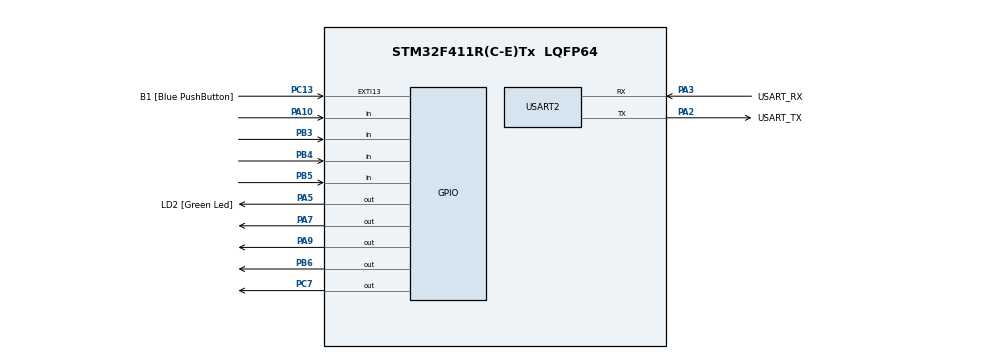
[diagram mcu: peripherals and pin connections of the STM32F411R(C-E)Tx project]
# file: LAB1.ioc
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Mcu.Family=STM32F4
Mcu.Name=STM32F411R(C-E)Tx
Mcu.Package=LQFP64
NVIC.PriorityGroup=NVIC_PRIORITYGROUP_0
PA10.Signal=GPIO_Input
PA13.GPIO_Label=TMS
PA13.Mode=Serial_Wire
PA13.Signal=SYS_JTMS-SWDIO
PA14.GPIO_Label=TCK
PA14.Mode=Serial_Wire
PA14.Signal=SYS_JTCK-SWCLK
PA2.GPIO_Label=USART_TX
PA2.Mode=Asynchronous
PA2.Signal=USART2_TX
PA3.GPIO_Label=USART_RX
PA3.Mode=Asynchronous
PA3.Signal=USART2_RX
PA5.GPIO_Label=LD2 [Green Led]
PA5.Signal=GPIO_Output
PA7.Signal=GPIO_Output
PA9.Signal=GPIO_Output
PB3.Signal=GPIO_Input
PB4.Signal=GPIO_Input
PB5.Signal=GPIO_Input
PB6.Signal=GPIO_Output
PC13-ANTI_TAMP.GPIO_Label=B1 [Blue PushButton]
PC13-ANTI_TAMP.GPIO_ModeDefaultEXTI=GPIO_MODE_IT_FALLING
PC13-ANTI_TAMP.Signal=GPXTI13
PC14-OSC32_IN.Mode=LSE-External-Oscillator
PC14-OSC32_IN.Signal=RCC_OSC32_IN
PC15-OSC32_OUT.Mode=LSE-External-Oscillator
PC15-OSC32_OUT.Signal=RCC_OSC32_OUT
PC7.Signal=GPIO_Output
PH0\ -\ OSC_IN.Mode=HSE-External-Clock-Source
PH0\ -\ OSC_IN.Signal=RCC_OSC_IN
PH1\ -\ OSC_OUT.Mode=HSE-External-Clock-Source
PH1\ -\ OSC_OUT.Signal=RCC_OSC_OUT
ProjectManager.HeapSize=0x200
ProjectManager.StackSize=0x400
ProjectManager.TargetToolchain=STM32CubeIDE
RCC.48MHZClocksFreq_Value=84000000
RCC.AHBFreq_Value=84000000
RCC.APB1CLKDivider=RCC_HCLK_DIV2
RCC.APB1Freq_Value=42000000
RCC.APB1TimFreq_Value=84000000
RCC.APB2Freq_Value=84000000
RCC.APB2TimFreq_Value=84000000
RCC.CortexFreq_Value=84000000
RCC.FLatency-AdvancedSettings=FLASH_LATENCY_2
RCC.HCLKFreq_Value=84000000
RCC.HSE_VALUE=8000000
RCC.HSI_VALUE=16000000
RCC.PLLN=336
RCC.PLLP=RCC_PLLP_DIV4
RCC.SYSCLKFreq_VALUE=84000000
RCC.SYSCLKSource=RCC_SYSCLKSOURCE_PLLCLK
RCC.VCOOutputFreq_Value=336000000
USART2.VirtualMode=VM_ASYNC
board=NUCLEO-F411RE

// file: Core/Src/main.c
/* USER CODE BEGIN Header */
/**
 ******************************************************************************
 * @file           : main.c
 * @brief          : Main program body
 ******************************************************************************
 * @attention
 *
 * <h2><center>&copy; Copyright (c) 2021 STMicroelectronics.
 * All rights reserved.</center></h2>
 *
 * This software component is licensed by ST under BSD 3-Clause license,
 * the "License"; You may not use this file except in compliance with the
 * License. You may obtain a copy of the License at:
 *                        opensource.org/licenses/BSD-3-Clause
 *
 ******************************************************************************
 */
/* USER CODE END Header */
#include "main.h"

UART_HandleTypeDef huart2;

void SystemClock_Config(void);
static void MX_GPIO_Init(void);
static void MX_USART2_UART_Init(void);

int main(void) {

	/* MCU Configuration--------------------------------------------------------*/

	/* Reset of all peripherals, Initializes the Flash interface and the Systick. */
	HAL_Init();

	/* Configure the system clock */
	SystemClock_Config();

	/* Initialize all configured peripherals */
	MX_GPIO_Init();
	MX_USART2_UART_Init();
	/* USER CODE BEGIN 2 */
	GPIO_PinState SwitchState[2]={0}; //NOW,LAST
	GPIO_PinState SwitchState1[2]={0}; //NOW,LAST
	GPIO_PinState SwitchState2[2]={0}; //NOW,LAST
	uint16_t LED1_HalfPeriod = 1000; //0.5Hz
	uint16_t LED3_HalfPeriod = 1500;
	uint32_t TimeStamp = 0;
	uint32_t TimeStamp1 = 0;
	uint32_t ButtonTimeStamp = 0;
	int Mode = 0;
	/* USER CODE END 2 */

	/* Infinite loop */
	while (1) {

		/* USER CODE BEGIN 3 */
		if (HAL_GetTick() - ButtonTimeStamp >= 100) {
			SwitchState[0] = HAL_GPIO_ReadPin(GPIOA, GPIO_PIN_10);
			SwitchState1[0] = HAL_GPIO_ReadPin(GPIOB, GPIO_PIN_3);
			SwitchState2[0] = HAL_GPIO_ReadPin(GPIOB, GPIO_PIN_5);
			if (SwitchState[1] == GPIO_PIN_SET
					&& SwitchState[0] == GPIO_PIN_RESET) {
				if (LED1_HalfPeriod == 1000) {
					LED1_HalfPeriod = 500;
				} else if (LED1_HalfPeriod == 500) {
					LED1_HalfPeriod = 250;
				} else if (LED1_HalfPeriod == 250) {
					LED1_HalfPeriod = 167;
				} else if (LED1_HalfPeriod == 167) {
					LED1_HalfPeriod = 1000;
				}
			}
			SwitchState[1] = SwitchState[0];
			if (SwitchState1[1] == GPIO_PIN_SET
					&& SwitchState1[0] == GPIO_PIN_RESET) {
				if (HAL_GPIO_ReadPin(GPIOC, GPIO_PIN_7) == GPIO_PIN_RESET) {
					HAL_GPIO_WritePin(GPIOC, GPIO_PIN_7, GPIO_PIN_SET);
				} else {
					HAL_GPIO_WritePin(GPIOC, GPIO_PIN_7, GPIO_PIN_RESET);
				}

			}
			SwitchState1[1] = SwitchState1[0];

			if (SwitchState2[1] == GPIO_PIN_SET
					&& SwitchState2[0] == GPIO_PIN_RESET) {
				if (Mode == 1) {
					Mode = 0;
				} else {
					Mode = 1;
				}

			}
			SwitchState2[1] = SwitchState2[0];
		}
		if (HAL_GetTick() - TimeStamp >= LED1_HalfPeriod) {
			TimeStamp = HAL_GetTick();
			if (HAL_GPIO_ReadPin(GPIOA, GPIO_PIN_9) == GPIO_PIN_SET) {
				HAL_GPIO_WritePin(GPIOA, GPIO_PIN_9, GPIO_PIN_RESET);
			} else {
				HAL_GPIO_WritePin(GPIOA, GPIO_PIN_9, GPIO_PIN_SET);
			}
		}
		if (HAL_GetTick() - TimeStamp1 >= LED3_HalfPeriod) {
			TimeStamp1 = HAL_GetTick();
			if (Mode == 1) {
				if (HAL_GPIO_ReadPin(GPIOB, GPIO_PIN_6) == GPIO_PIN_SET) {
					LED3_HalfPeriod = 500;
					HAL_GPIO_WritePin(GPIOB, GPIO_PIN_6, GPIO_PIN_RESET);
				} else {
					LED3_HalfPeriod = 1500;
					HAL_GPIO_WritePin(GPIOB, GPIO_PIN_6, GPIO_PIN_SET);
				}
			} else {
					if (HAL_GPIO_ReadPin(GPIOB, GPIO_PIN_6) == GPIO_PIN_SET) {
						LED3_HalfPeriod = 1500;
						HAL_GPIO_WritePin(GPIOB, GPIO_PIN_6, GPIO_PIN_RESET);
					} else {
						LED3_HalfPeriod = 500;
						HAL_GPIO_WritePin(GPIOB, GPIO_PIN_6, GPIO_PIN_SET);
					}
				}
			}
		}
	}

/* USER CODE END 3 */

void SystemClock_Config(void) {
RCC_OscInitTypeDef RCC_OscInitStruct = { 0 };
RCC_ClkInitTypeDef RCC_ClkInitStruct = { 0 };

/** Configure the main internal regulator output voltage
 */
__HAL_RCC_PWR_CLK_ENABLE();
__HAL_PWR_VOLTAGESCALING_CONFIG(PWR_REGULATOR_VOLTAGE_SCALE1);
/** Initializes the RCC Oscillators according to the specified parameters
 * in the RCC_OscInitTypeDef structure.
 */
RCC_OscInitStruct.OscillatorType = RCC_OSCILLATORTYPE_HSI;
RCC_OscInitStruct.HSIState = RCC_HSI_ON;
RCC_OscInitStruct.HSICalibrationValue = RCC_HSICALIBRATION_DEFAULT;
RCC_OscInitStruct.PLL.PLLState = RCC_PLL_ON;
RCC_OscInitStruct.PLL.PLLSource = RCC_PLLSOURCE_HSI;
RCC_OscInitStruct.PLL.PLLM = 16;
RCC_OscInitStruct.PLL.PLLN = 336;
RCC_OscInitStruct.PLL.PLLP = RCC_PLLP_DIV4;
RCC_OscInitStruct.PLL.PLLQ = 4;
if (HAL_RCC_OscConfig(&RCC_OscInitStruct) != HAL_OK) {
	Error_Handler();
}
/** Initializes the CPU, AHB and APB buses clocks
 */
RCC_ClkInitStruct.ClockType = RCC_CLOCKTYPE_HCLK | RCC_CLOCKTYPE_SYSCLK
		| RCC_CLOCKTYPE_PCLK1 | RCC_CLOCKTYPE_PCLK2;
RCC_ClkInitStruct.SYSCLKSource = RCC_SYSCLKSOURCE_PLLCLK;
RCC_ClkInitStruct.AHBCLKDivider = RCC_SYSCLK_DIV1;
RCC_ClkInitStruct.APB1CLKDivider = RCC_HCLK_DIV2;
RCC_ClkInitStruct.APB2CLKDivider = RCC_HCLK_DIV1;

if (HAL_RCC_ClockConfig(&RCC_ClkInitStruct, FLASH_LATENCY_2) != HAL_OK) {
	Error_Handler();
}
}

static void MX_USART2_UART_Init(void) {

huart2.Instance = USART2;
huart2.Init.BaudRate = 115200;
huart2.Init.WordLength = UART_WORDLENGTH_8B;
huart2.Init.StopBits = UART_STOPBITS_1;
huart2.Init.Parity = UART_PARITY_NONE;
huart2.Init.Mode = UART_MODE_TX_RX;
huart2.Init.HwFlowCtl = UART_HWCONTROL_NONE;
huart2.Init.OverSampling = UART_OVERSAMPLING_16;
if (HAL_UART_Init(&huart2) != HAL_OK) {
	Error_Handler();
}

}

static void MX_GPIO_Init(void) {
GPIO_InitTypeDef GPIO_InitStruct = { 0 };

/* GPIO Ports Clock Enable */
__HAL_RCC_GPIOC_CLK_ENABLE();
__HAL_RCC_GPIOH_CLK_ENABLE();
__HAL_RCC_GPIOA_CLK_ENABLE();
__HAL_RCC_GPIOB_CLK_ENABLE();

/*Configure GPIO pin Output Level */
HAL_GPIO_WritePin(GPIOA, LD2_Pin | GPIO_PIN_7 | GPIO_PIN_9, GPIO_PIN_RESET);

/*Configure GPIO pin Output Level */
HAL_GPIO_WritePin(GPIOC, GPIO_PIN_7, GPIO_PIN_RESET);

/*Configure GPIO pin Output Level */
HAL_GPIO_WritePin(GPIOB, GPIO_PIN_6, GPIO_PIN_RESET);

/*Configure GPIO pin : B1_Pin */
GPIO_InitStruct.Pin = B1_Pin;
GPIO_InitStruct.Mode = GPIO_MODE_IT_FALLING;
GPIO_InitStruct.Pull = GPIO_NOPULL;
HAL_GPIO_Init(B1_GPIO_Port, &GPIO_InitStruct);

/*Configure GPIO pins : LD2_Pin PA7 PA9 */
GPIO_InitStruct.Pin = LD2_Pin | GPIO_PIN_7 | GPIO_PIN_9;
GPIO_InitStruct.Mode = GPIO_MODE_OUTPUT_PP;
GPIO_InitStruct.Pull = GPIO_NOPULL;
GPIO_InitStruct.Speed = GPIO_SPEED_FREQ_LOW;
HAL_GPIO_Init(GPIOA, &GPIO_InitStruct);

/*Configure GPIO pin : PC7 */
GPIO_InitStruct.Pin = GPIO_PIN_7;
GPIO_InitStruct.Mode = GPIO_MODE_OUTPUT_PP;
GPIO_InitStruct.Pull = GPIO_NOPULL;
GPIO_InitStruct.Speed = GPIO_SPEED_FREQ_LOW;
HAL_GPIO_Init(GPIOC, &GPIO_InitStruct);

/*Configure GPIO pin : PA10 */
GPIO_InitStruct.Pin = GPIO_PIN_10;
GPIO_InitStruct.Mode = GPIO_MODE_INPUT;
GPIO_InitStruct.Pull = GPIO_NOPULL;
HAL_GPIO_Init(GPIOA, &GPIO_InitStruct);

/*Configure GPIO pins : PB3 PB4 PB5 */
GPIO_InitStruct.Pin = GPIO_PIN_3 | GPIO_PIN_4 | GPIO_PIN_5;
GPIO_InitStruct.Mode = GPIO_MODE_INPUT;
GPIO_InitStruct.Pull = GPIO_NOPULL;
HAL_GPIO_Init(GPIOB, &GPIO_InitStruct);

/*Configure GPIO pin : PB6 */
GPIO_InitStruct.Pin = GPIO_PIN_6;
GPIO_InitStruct.Mode = GPIO_MODE_OUTPUT_PP;
GPIO_InitStruct.Pull = GPIO_NOPULL;
GPIO_InitStruct.Speed = GPIO_SPEED_FREQ_LOW;
HAL_GPIO_Init(GPIOB, &GPIO_InitStruct);

}

void Error_Handler(void) {
__disable_irq();
while (1) {
}
}

/************************ (C) COPYRIGHT STMicroelectronics *****END OF FILE****/
